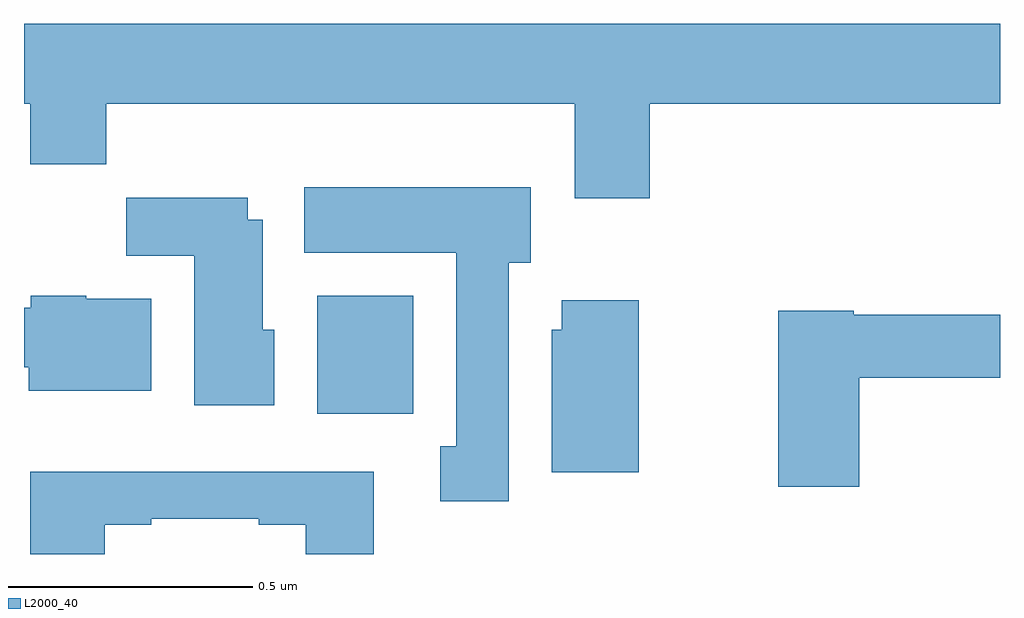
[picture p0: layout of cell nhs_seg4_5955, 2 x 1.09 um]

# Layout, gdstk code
import gdstk
lib = gdstk.Library(unit=1e-6, precision=1e-09)
def R(c, l, rs):  # rectangles x0, y0, x1, y1
    for r in rs: c.add(gdstk.rectangle(r[:2], r[2:], *l))
def P(c, l, *ps):  # polygons
    for p in ps: c.add(gdstk.Polygon(p, *l))
L2000_40 = (2000, 40)

nhs_seg4_5955 = lib.new_cell('nhs_seg4_5955')
R(nhs_seg4_5955, L2000_40, [(184.601,792.188,184.798,792.43)])
P(nhs_seg4_5955, L2000_40, [(185.282,792.824),(186,792.824),(186,792.988),(184,792.988),(184,792.824),(184.013,792.824),(184.013,792.7),(184.169,792.7),(184.169,792.824),(185.129,792.824),(185.129,792.63),(185.282,792.63)],
  [(184.993,792.498),(185.038,792.498),(185.038,792.652),(184.574,792.652),(184.574,792.518),(184.886,792.518),(184.886,792.122),(184.853,792.122),(184.853,792.009),(184.993,792.009)],
  [(184.513,792.36),(184.489,792.36),(184.489,792.586),(184.459,792.586),(184.459,792.631),(184.21,792.631),(184.21,792.512),(184.349,792.512),(184.349,792.206),(184.513,792.206)],
  [(184.261,792.424),(184.128,792.424),(184.128,792.43),(184.014,792.43),(184.014,792.406),(184,792.406),(184,792.284),(184.01,792.284),(184.01,792.236),(184.261,792.236)],
  [(185.26,792.421),(185.102,792.421),(185.102,792.36),(185.081,792.36),(185.081,792.068),(185.26,792.068)],
  [(185.712,792.262),(186,792.262),(186,792.391),(185.7,792.391),(185.7,792.399),(185.546,792.399),(185.546,792.039),(185.712,792.039)],
  [(184.165,791.961),(184.261,791.961),(184.261,791.973),(184.481,791.973),(184.481,791.961),(184.577,791.961),(184.577,791.9),(184.717,791.9),(184.717,792.07),(184.013,792.07),(184.013,791.9),(184.165,791.9)])

lib.write_gds('nhs_seg4_5955.gds')
